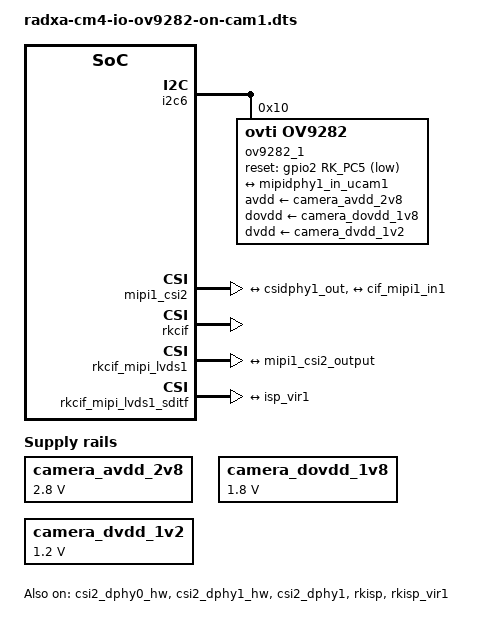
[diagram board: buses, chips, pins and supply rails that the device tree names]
/dts-v1/;
/plugin/;

#include <dt-bindings/gpio/gpio.h>
#include <dt-bindings/pinctrl/rockchip.h>
#include <dt-bindings/clock/rockchip,rk3576-cru.h>

/ {
	metadata {
		title = "Enable OV9282 Camera on CAM1";
		compatible = "radxa,cm4-io";
		category = "camera";
		exclusive = "GPIO2_C5", "csi2_dphy1";
		description = "Enable an OV9282 two-lane MIPI CSI-2 camera on CAM1.";
	};
};

&{/} {
	/*
	 * The OV9282 XVCLK is supplied externally by the carrier board
	 * (24 MHz, 1.8 V).  This fixed-clock node is only a software
	 * representation so the sensor driver has a valid xvclk clock
	 * provider to acquire/enable; it does not drive a SoC clock pin.
	 */
	ov9282_xvclk: ov9282-xvclk {
		compatible = "fixed-clock";
		#clock-cells = <0>;
		clock-frequency = <24000000>;
	};

	camera_avdd_2v8: camera-avdd-2v8 {
		compatible = "regulator-fixed";
		regulator-name = "camera_avdd_2v8";
		regulator-min-microvolt = <2800000>;
		regulator-max-microvolt = <2800000>;
		regulator-always-on;
		regulator-boot-on;
	};

	camera_dovdd_1v8: camera-dovdd-1v8 {
		compatible = "regulator-fixed";
		regulator-name = "camera_dovdd_1v8";
		regulator-min-microvolt = <1800000>;
		regulator-max-microvolt = <1800000>;
		regulator-always-on;
		regulator-boot-on;
	};

	camera_dvdd_1v2: camera-dvdd-1v2 {
		compatible = "regulator-fixed";
		regulator-name = "camera_dvdd_1v2";
		regulator-min-microvolt = <1200000>;
		regulator-max-microvolt = <1200000>;
		regulator-always-on;
		regulator-boot-on;
	};
};

&i2c6 {
	status = "okay";
	pinctrl-names = "default";
	pinctrl-0 = <&i2c6m3_xfer>;
	#address-cells = <1>;
	#size-cells = <0>;

	ov9282_1: ov9282@10 {
		status = "okay";
		compatible = "ovti,ov9282";
		reg = <0x10>;

		/*
		 * XVCLK is physically generated off-SoC on the carrier.
		 * Use the fixed software clock above; do not mux/drive CAM_CLK0.
		 */
		clocks = <&ov9282_xvclk>;
		clock-names = "xvclk";

		pinctrl-names = "default";
		pinctrl-0 = <&cam_pwdn_gpio_1>;

		/* CAM_RST_3V3 drives an inverting NMOS on the carrier.
		 * Logical reset asserted => SoC pin HIGH => sensor XSHUTDOWN LOW.
		 * GPIO_ACTIVE_LOW makes the OV9282 driver power-on logical 1
		 * drive the SoC pin LOW, releasing XSHUTDOWN to 1.8 V.
		 */
		reset-gpios = <&gpio2 RK_PC5 GPIO_ACTIVE_LOW>;

		avdd-supply = <&camera_avdd_2v8>;
		dovdd-supply = <&camera_dovdd_1v8>;
		dvdd-supply = <&camera_dvdd_1v2>;

		rockchip,camera-module-index = <0>;
		rockchip,camera-module-facing = "back";
		rockchip,camera-module-name = "ov9282";
		rockchip,camera-module-lens-name = "default";

		port {
			ov9282_out1: endpoint {
				remote-endpoint = <&mipidphy1_in_ucam1>;
				data-lanes = <1 2>;
				link-frequencies = /bits/ 64 <400000000>;
			};
		};
	};
};

&csi2_dphy0_hw {
	status = "okay";
};

&csi2_dphy1_hw {
	status = "okay";
};

&csi2_dphy1 {
	status = "okay";

	ports {
		#address-cells = <1>;
		#size-cells = <0>;

		port@0 {
			reg = <0>;
			#address-cells = <1>;
			#size-cells = <0>;

			mipidphy1_in_ucam1: endpoint@2 {
				reg = <2>;
				remote-endpoint = <&ov9282_out1>;
				data-lanes = <1 2>;
			};
		};

		port@1 {
			reg = <1>;
			#address-cells = <1>;
			#size-cells = <0>;

			csidphy1_out: endpoint@0 {
				reg = <0>;
				remote-endpoint = <&mipi1_csi2_input>;
			};
		};
	};
};

&mipi1_csi2 {
	status = "okay";

	ports {
		#address-cells = <1>;
		#size-cells = <0>;

		port@0 {
			reg = <0>;
			#address-cells = <1>;
			#size-cells = <0>;

			mipi1_csi2_input: endpoint@1 {
				reg = <1>;
				remote-endpoint = <&csidphy1_out>;
			};
		};

		port@1 {
			reg = <1>;
			#address-cells = <1>;
			#size-cells = <0>;

			mipi1_csi2_output: endpoint@0 {
				reg = <0>;
				remote-endpoint = <&cif_mipi1_in1>;
			};
		};
	};
};

&rkcif {
	status = "okay";
};

&rkcif_mmu {
	status = "okay";
};

&rkcif_mipi_lvds1 {
	status = "okay";

	port {
		cif_mipi1_in1: endpoint {
			remote-endpoint = <&mipi1_csi2_output>;
		};
	};
};

&rkcif_mipi_lvds1_sditf {
	status = "okay";

	port {
		mipi_lvds1_sditf: endpoint {
			remote-endpoint = <&isp_vir1>;
		};
	};
};

&rkisp_mmu {
	status = "okay";
};

&rkisp {
	status = "okay";
};

&rkisp_vir1 {
	status = "okay";

	port {
		#address-cells = <1>;
		#size-cells = <0>;

		isp_vir1: endpoint@0 {
			reg = <0>;
			remote-endpoint = <&mipi_lvds1_sditf>;
		};
	};
};

&pinctrl {
	camera {
		cam_pwdn_gpio_1: cam-pwdn-gpio-1 {
			rockchip,pins = <2 RK_PC5 RK_FUNC_GPIO &pcfg_pull_up>;
		};
	};
};
